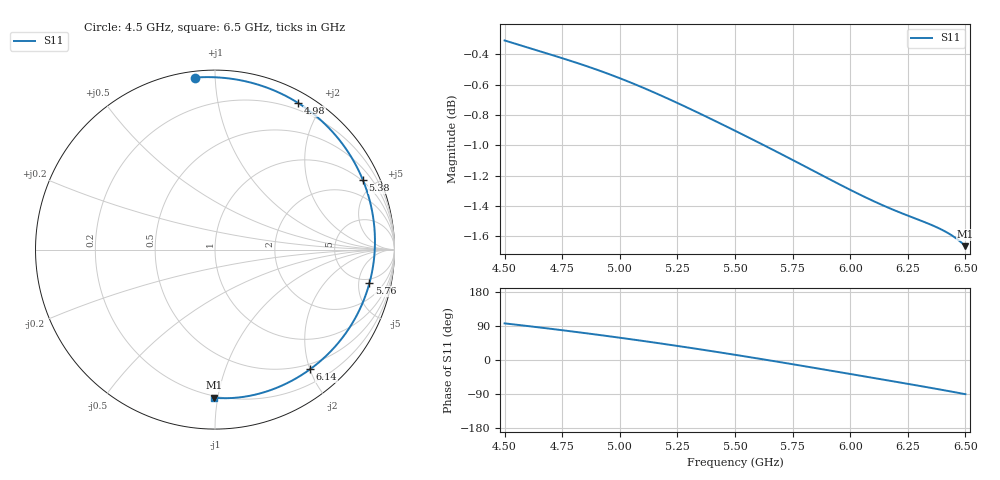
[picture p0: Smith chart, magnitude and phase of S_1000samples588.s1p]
! TOUCHSTONE file generated by CST MICROWAVE STUDIO
! Date and time: Fri Oct 28 16:57:45 2022
! Project name: L.cst
! Parameters = {Di=1.27; Epsilon_r=1.56; InnerDiameter=1.27; Length=2; Lf=10; Lg=60; OuterConductorThickness=0.2921; OuterDiameter=3.6; Wf=3; Wp=41.2; de=1.5; df=6.8; g=0.8; gx=3.81356; gy=4.34697; h=2.34; hf=1.524; px=9.68106; py=13.6304; w=9.7; wx=5.8675; wy=9.28339}
! Header version: 2018
! Port assignment regex: !\s*Touchstone port\s*([0-9]+)\s*=\s*(CST MWS port|CST DS port)\s*([0-9]+|Zmin|Zmax)\s*\(\"(.*)\"\)(\s*mode\s*([0-9]+))?.*
! Touchstone port assignment:
! Touchstone port 1 = CST MWS port 1 ("")
# GHz S DB R 50
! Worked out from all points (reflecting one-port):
!   101 points, 4.5 GHz to 6.5 GHz, reference 50 ohm
!   lowest |S11| = -1.7 dB at 6.5 GHz (marker M1), VSWR 10.46, Z = 9.44 - j48.9 ohm
!   phase of S11 starts at 97 deg and turns -187 deg over the sweep
!   S11 on the Smith chart (normalised r, x): 4.5 GHz: 0.03, +0.89; 4.98 GHz: 0.12, +1.71; 5.38 GHz: 0.95, +4.28; 5.76 GHz: 4.17, -6.89; 6.14 GHz: 0.41, -2.01; 6.5 GHz: 0.19, -0.98
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4.5  -0.31 96.7
4.64  -0.37 86.7
4.76  -0.43 77.8
4.88  -0.49 68.5
4.98  -0.55 60.4
5  -0.56 58.8
5.12  -0.63 48.6
5.18  -0.67 43.4
5.26  -0.73 36.2
5.38  -0.82 25.1
5.44  -0.86 19.5
5.5  -0.90 13.7
5.58  -0.97 5.9
5.64  -1.01 -0.1
5.7  -1.06 -6.1
5.76  -1.11 -12.2
5.82  -1.15 -18.3
5.88  -1.20 -24.5
5.94  -1.25 -30.7
6  -1.29 -36.9
6.08  -1.35 -45.2
6.14  -1.40 -51.4
6.2  -1.43 -57.7
6.26  -1.47 -64.0
6.32  -1.51 -70.4
6.38  -1.54 -76.8
6.44  -1.59 -83.4
6.5  -1.67 -90.2
